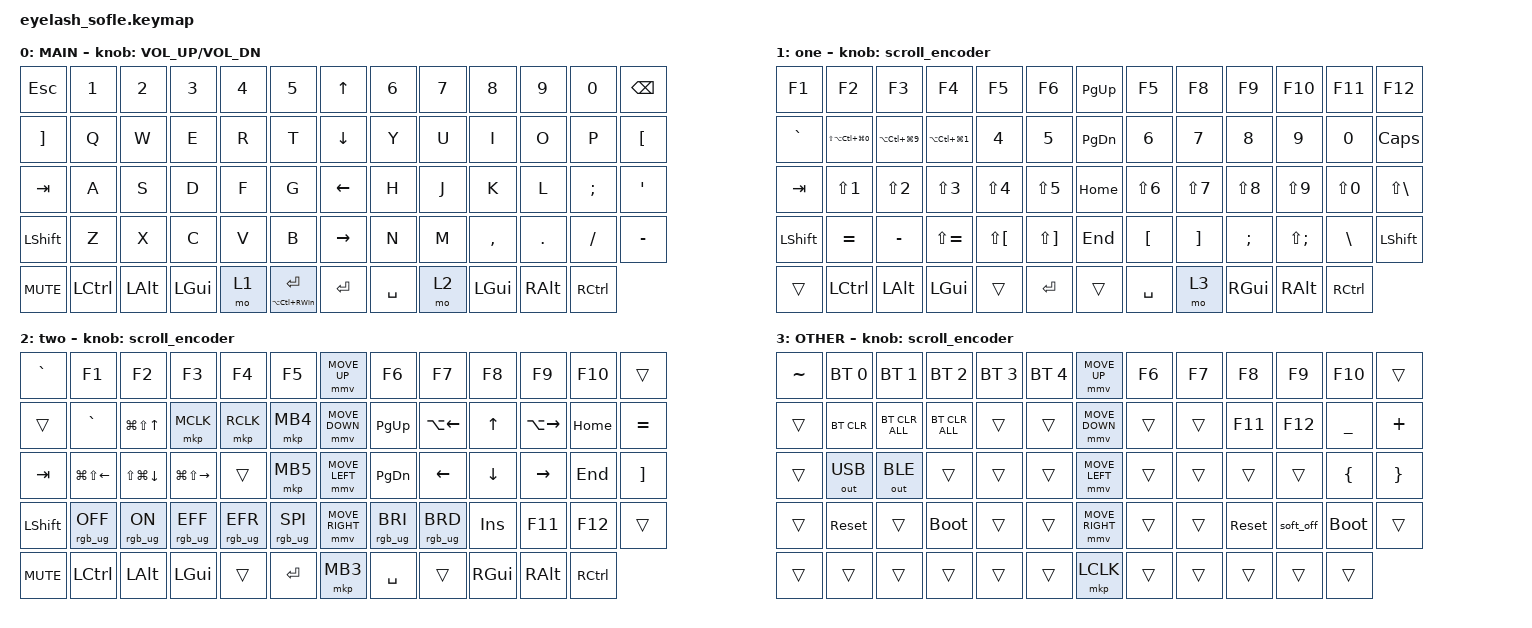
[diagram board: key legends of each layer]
#define ZMK_POINTING_DEFAULT_MOVE_VAL 1200  // 600
#define ZMK_POINTING_DEFAULT_SCRL_VAL 25   // 10

#include <input/processors.dtsi>
#include <zephyr/dt-bindings/input/input-event-codes.h>
#include <behaviors.dtsi>
#include <dt-bindings/zmk/bt.h>
#include <dt-bindings/zmk/keys.h>
#include <dt-bindings/zmk/outputs.h>
#include <dt-bindings/zmk/pointing.h>
#include <dt-bindings/zmk/rgb.h>

&mmv_input_listener { input-processors = <&zip_xy_scaler 2 1>; };

&msc_input_listener { input-processors = <&zip_scroll_scaler 2 1>; };

&msc {
    acceleration-exponent = <1>;      // 0
    time-to-max-speed-ms = <100>;       // 300
    delay-ms = <0>;                   // 0
};

&mmv {
    time-to-max-speed-ms = <500>;
    acceleration-exponent = <1>;
    trigger-period-ms = <16>;
};

&soft_off { hold-time-ms = <2000>; };

/ {
    scroll_encoder: scroll_encoder {
        compatible = "zmk,behavior-sensor-rotate";
        #sensor-binding-cells = <0>;
        bindings = <&msc SCRL_DOWN>, <&msc SCRL_UP>;

        tap-ms = <100>;
    };

    hmr: hmr {
        compatible = "zmk,behavior-hold-tap";
        label = "HMR";
        bindings = <&none>, <&none>;

        #binding-cells = <2>;
        flavor = "balanced";
        tapping-term-ms = <210>;
        quick-tap-ms = <175>;
        require-prior-idle-ms = <150>;
    };

    behaviors {
    };

    combos {
        compatible = "zmk,combos";

        raycast {
            bindings = <&kp LA(SPACE)>;
            key-positions = <33 34 35>;
        };

        space {
            bindings = <&kp SPACE>;
            key-positions = <16 18>;
        };

        backspace {
            bindings = <&kp BACKSPACE>;
            key-positions = <17 31>;
        };

        plus {
            bindings = <&kp PLUS>;
            key-positions = <33 21>;
        };

        equal-plus {
            bindings = <&kp LS(EQUAL)>;
            key-positions = <23 35>;
        };

        vv {
            bindings = <&kp LC(LG(V))>;
            key-positions = <29 30 31>;
        };

        delete-strokego {
            bindings = <&kp LA(LG(MINUS))>;
            key-positions = <14 15>;
        };

        delete-keyword-ex {
            bindings = <&kp LG(MINUS)>;
            key-positions = <13 14>;
        };

        texttovoice {
            bindings = <&kp LG(DEL)>;
            key-positions = <20 21 22>;
        };
    };

    keymap {
        compatible = "zmk,keymap";

        layer0 {
            bindings = <
&kp ESC     &kp N1     &kp N2    &kp N3    &kp N4  &kp N5                         &kp UP_ARROW     &kp N6     &kp N7  &kp N8     &kp N9    &kp N0     &kp BACKSPACE
&kp RBKT    &kp Q      &kp W     &kp E     &kp R   &kp T                          &kp DOWN_ARROW   &kp Y      &kp U   &kp I      &kp O     &kp P      &kp LBKT
&kp TAB     &kp A      &kp S     &kp D     &kp F   &kp G                          &kp LEFT_ARROW   &kp H      &kp J   &kp K      &kp L     &kp SEMI   &kp APOS
&kp LSHFT   &kp Z      &kp X     &kp C     &kp V   &kp B                          &kp RIGHT_ARROW  &kp N      &kp M   &kp COMMA  &kp DOT   &kp FSLH   &kp MINUS
&kp C_MUTE  &kp LCTRL  &kp LALT  &kp LGUI  &mo 1   &mt LA(LC(RIGHT_WIN)) ENTER    &kp ENTER        &kp SPACE  &mo 2   &kp LGUI   &kp RALT  &kp RCTRL
            >;

            sensor-bindings = <&inc_dec_kp C_VOLUME_UP C_VOL_DN>;
            display-name = "MAIN";
        };

        one {
            bindings = <
&kp F1     &kp F2                  &kp F3              &kp F4                    &kp F5        &kp F6          &kp PAGE_UP    &kp F5      &kp F8      &kp F9      &kp F10       &kp F11     &kp F12
&kp GRAVE  &kp LS(LA(LC(LG(N0))))  &kp LA(LC(LG(N9)))  &kp LA(LC(LG(NUMBER_1)))  &kp N4        &kp N5          &kp PAGE_DOWN  &kp N6      &kp N7      &kp N8      &kp N9        &kp N0      &kp CAPS
&kp TAB    &kp LS(N1)              &kp LS(N2)          &kp LS(N3)                &kp LS(N4)    &kp LS(N5)      &kp HOME       &kp LS(N6)  &kp LS(N7)  &kp LS(N8)  &kp LS(N9)    &kp LS(N0)  &kp LS(BSLH)
&kp LSHFT  &kp EQUAL               &kp MINUS           &kp LS(EQUAL)             &kp LS(LBKT)  &kp LS(RBKT)    &kp END        &kp LBKT    &kp RBKT    &kp SEMI    &kp LS(SEMI)  &kp BSLH    &kp LSHFT
&trans     &kp LCTRL               &kp LALT            &kp LGUI                  &trans        &kp ENTER       &trans         &kp SPACE   &mo 3       &kp RGUI    &kp RALT      &kp RCTRL
            >;

            display-name = "one";
            sensor-bindings = <&scroll_encoder>;
        };

        two {
            bindings = <
&kp GRAVE       &kp F1            &kp F2                &kp F3             &kp F4           &kp F5             &mmv MOVE_UP     &kp F6           &kp F7           &kp F8      &kp F9         &kp F10    &trans
&trans          &kp GRAVE         &kp LG(LS(UP_ARROW))  &mkp MCLK          &mkp RCLK        &mkp MB4           &mmv MOVE_DOWN   &kp PG_UP        &kp LA(LEFT)     &kp UP      &kp LA(RIGHT)  &kp HOME   &kp EQUAL
&kp TAB         &kp LG(LS(LEFT))  &kp LS(LG(DOWN))      &kp LG(LS(RIGHT))  &trans           &mkp MB5           &mmv MOVE_LEFT   &kp PG_DN        &kp LEFT         &kp DOWN    &kp RIGHT      &kp END    &kp RIGHT_BRACKET
&kp LEFT_SHIFT  &rgb_ug RGB_OFF   &rgb_ug RGB_ON        &rgb_ug RGB_EFF    &rgb_ug RGB_EFR  &rgb_ug RGB_SPI    &mmv MOVE_RIGHT  &rgb_ug RGB_BRI  &rgb_ug RGB_BRD  &kp INSERT  &kp F11        &kp F12    &trans
&kp C_MUTE      &kp LCTRL         &kp LALT              &kp LGUI           &trans           &kp ENTER          &mkp MB3         &kp SPACE        &trans           &kp RGUI    &kp RALT       &kp RCTRL
            >;

            display-name = "two";
            sensor-bindings = <&scroll_encoder>;
        };

        OTHER {
            bindings = <
&kp TILDE  &bt BT_SEL 0  &bt BT_SEL 1    &bt BT_SEL 2    &bt BT_SEL 3  &bt BT_SEL 4    &mmv MOVE_UP     &kp F6  &kp F7  &kp F8      &kp F9     &kp F10      &trans
&trans     &bt BT_CLR    &bt BT_CLR_ALL  &bt BT_CLR_ALL  &trans        &trans          &mmv MOVE_DOWN   &trans  &trans  &kp F11     &kp F12    &kp UNDER    &kp PLUS
&trans     &out OUT_USB  &out OUT_BLE    &trans          &trans        &trans          &mmv MOVE_LEFT   &trans  &trans  &trans      &trans     &kp LBRC     &kp RBRC
&trans     &sys_reset    &trans          &bootloader     &trans        &trans          &mmv MOVE_RIGHT  &trans  &trans  &sys_reset  &soft_off  &bootloader  &trans
&trans     &trans        &trans          &trans          &trans        &trans          &mkp LCLK        &trans  &trans  &trans      &trans     &trans
            >;

            display-name = "OTHER";
            sensor-bindings = <&scroll_encoder>;
        };
    };
};
